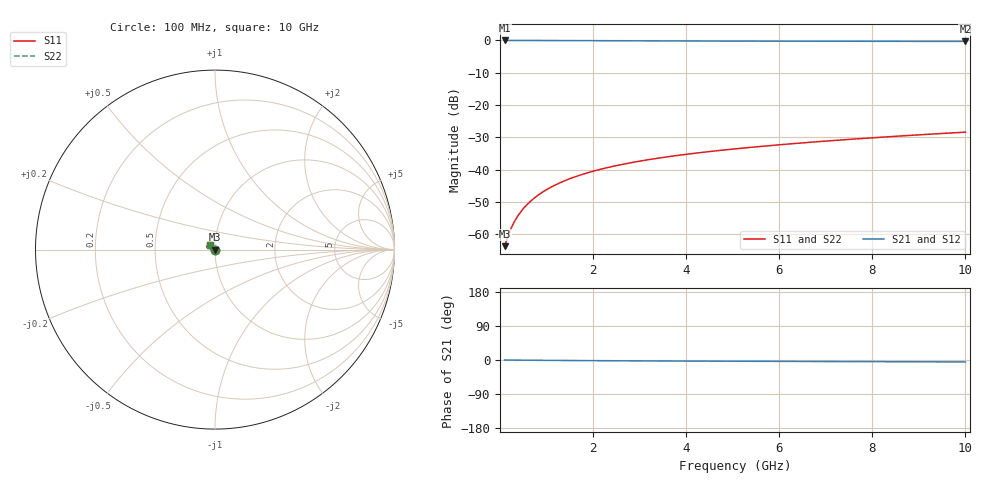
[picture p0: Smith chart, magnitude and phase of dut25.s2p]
! Touchstone file exported from HFSS 2024.1.0
!  File:  C:/UserFiles/LocalFiles/RDL_TSV_Batchsim/temp_TSV1_25_1779369480.aedt
!  Generated:  09:24:01 PM May 21, 2026
!  Design:  TSV1
!  Project:  temp_TSV1_25_1779369480
!  Setup:  Setup1
!  Solution:  Sweep
! Variables:
!  dtsv = 5.53um
!  hbump = 3um
!  htsv = 72.79um
!  lrdl = 252.1521522um
!  p = 40
!  p1 = 52.69um
!  t = 500um
!  trdl = 3um
!  wrdl = 24.89489489um
# GHz S MA R 50.000000
! Terminal data exported
! Port[1] = TSV22_T1
! Port[2] = TSV22_T2
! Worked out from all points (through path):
!   100 points, 100 MHz to 10 GHz, reference 50 ohm
!   highest |S21| = 0.00 dB at 100 MHz (marker M1); lowest = -0.3 dB at 10 GHz (marker M2)
!   lowest |S11| = -63.8 dB at 100 MHz (marker M3), VSWR 1.00, Z = 50 - j0.0504 ohm
!   |S11| at or under -10 dB: start of sweep to end of sweep
!   |S22| runs from -63.8 to -28.4 dB; largest |S21 - S12| = 6.2e-15
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0.1  0.0006484 -50.9  0.9995 -0.1  0.9995 -0.1  0.0006484 -50.9
! Gamma 0 0 0 0
! Port Impedance 50 0 50 0
0.2  0.00106 -71.4  0.9995 -0.2  0.9995 -0.2  0.00106 -71.4
0.3  0.001517 -81.5  0.9993 -0.3  0.9993 -0.3  0.001517 -81.5
0.4  0.00199 -88.1  0.9992 -0.4  0.9992 -0.4  0.00199 -88.1
0.5  0.002469 -93.1  0.999 -0.5  0.999 -0.5  0.002469 -93.1
0.6  0.00295 -97.3  0.9987 -0.6  0.9987 -0.6  0.00295 -97.3
0.7  0.003432 -100.9  0.9984 -0.7  0.9984 -0.7  0.003432 -100.9
0.8  0.003913 -104.3  0.9981 -0.8  0.9981 -0.8  0.003913 -104.3
0.9  0.004392 -107.4  0.9977 -0.8  0.9977 -0.8  0.004392 -107.4
1.1  0.005341 -113.1  0.9969 -1.0  0.9969 -1.0  0.005341 -113.1
1.4  0.006734 -121.0  0.9955 -1.3  0.9955 -1.3  0.006734 -121.0
1.6  0.00764 -125.9  0.9945 -1.4  0.9945 -1.4  0.00764 -125.9
1.8  0.008527 -130.6  0.9934 -1.6  0.9934 -1.6  0.008527 -130.6
2.1  0.009821 -137.3  0.9917 -1.8  0.9917 -1.8  0.009821 -137.3
2.5  0.01148 -145.6  0.9894 -2.0  0.9894 -2.0  0.01148 -145.6
2.9  0.01307 -153.3  0.9871 -2.3  0.9871 -2.3  0.01307 -153.3
3.4  0.01498 -162.0  0.9844 -2.5  0.9844 -2.5  0.01498 -162.0
4.2  0.01789 -174.2  0.9805 -2.9  0.9805 -2.9  0.01789 -174.2
5.1  0.02105 174.4  0.9769 -3.3  0.9769 -3.3  0.02105 174.4
6.7  0.02652 158.6  0.9723 -3.9  0.9723 -3.9  0.02652 158.6
8.4  0.03235 146.3  0.9689 -4.5  0.9689 -4.5  0.03235 146.3
10  0.03793 137.6  0.9666 -5.1  0.9666 -5.1  0.03793 137.6
